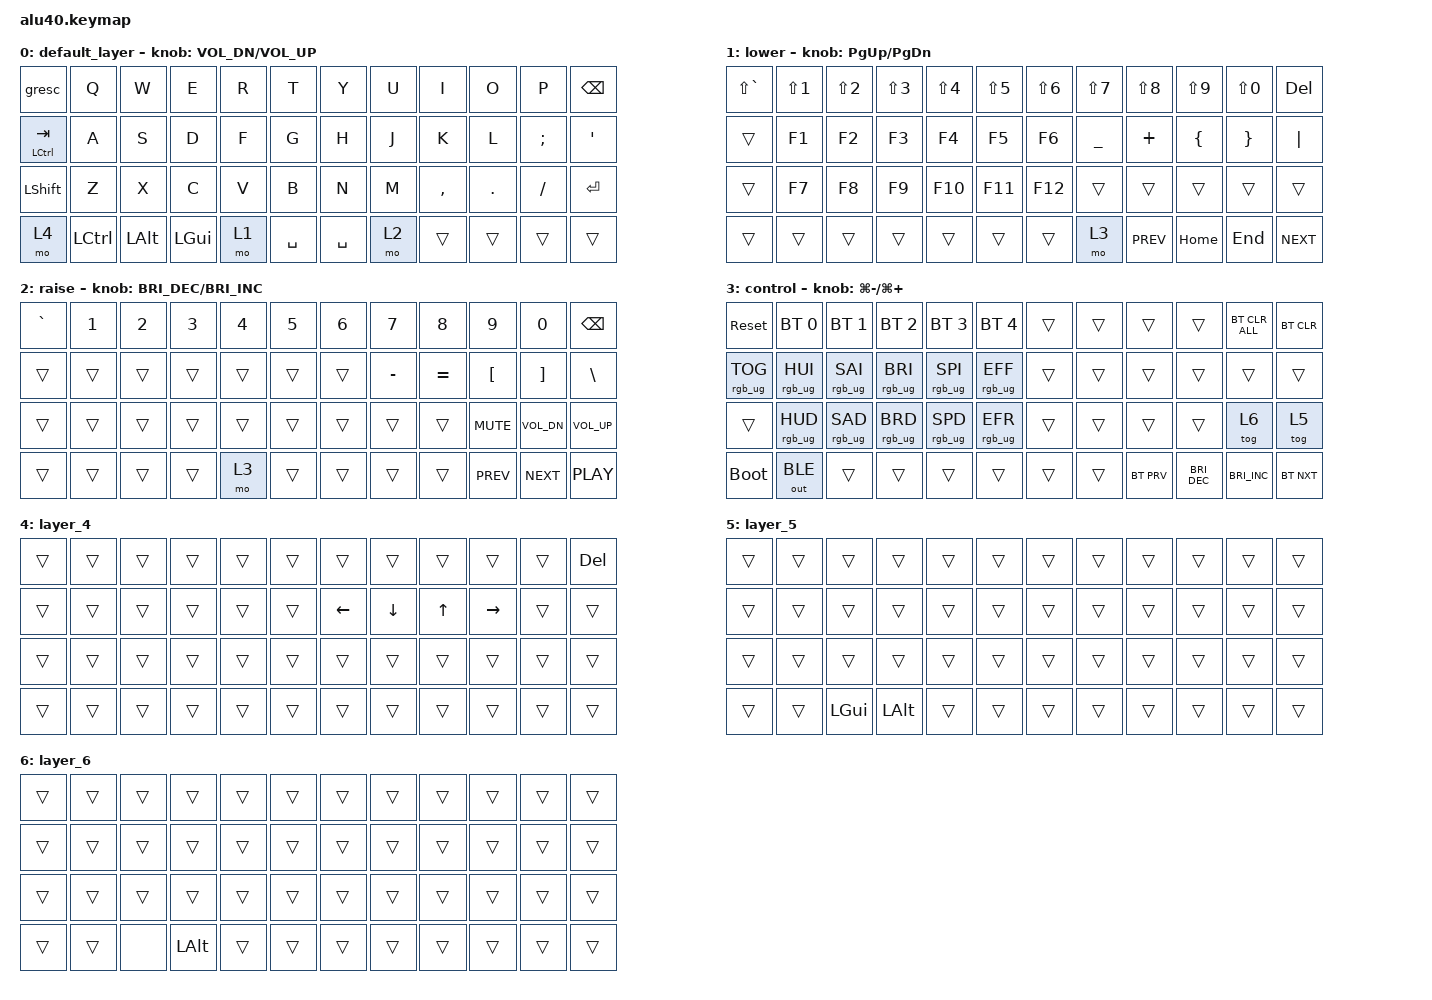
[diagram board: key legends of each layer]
/*
 * Copyright (c) 2022 The ZMK Contributors
 *
 * SPDX-License-Identifier: MIT
 */

#include <behaviors.dtsi>
#include <dt-bindings/zmk/bt.h>
#include <dt-bindings/zmk/keys.h>
#include <dt-bindings/zmk/outputs.h>
#include <dt-bindings/zmk/rgb.h>

/ {
    keymap {
        compatible = "zmk,keymap";

        default_layer {
            // -----------------------------------------------------------------------------------------
            // | ESC/~ |  Q   |  W   |  E   |  R   |  T   |   Y   |  U    |  I   |  O   |   P   | BSPC  |
            // | TAB   |  A   |  S   |  D   |  F   |  G   |   H   |  J    |  K   |  L   |   ;   |  '    |
            // | SHIFT |  Z   |  X   |  C   |  V   |  B   |   N   |  M    |  ,   |  .   |   /   |RET/SFT|
            // | PLAY  | LCTL | LALT | LGUI | LOWR |     SPACE    |  RAIS | LARW | UARW | DARW  |  RARW |

            bindings = <
&gresc         &kp Q      &kp W     &kp E     &kp R  &kp T      &kp Y      &kp U  &kp I      &kp O    &kp P     &kp BSPC
&mt LCTRL TAB  &kp A      &kp S     &kp D     &kp F  &kp G      &kp H      &kp J  &kp K      &kp L    &kp SEMI  &kp SQT
&kp LSHFT      &kp Z      &kp X     &kp C     &kp V  &kp B      &kp N      &kp M  &kp COMMA  &kp DOT  &kp FSLH  &kp ENTER
&mo 4          &kp LCTRL  &kp LALT  &kp LGUI  &mo 1  &kp SPACE  &kp SPACE  &mo 2  &trans     &trans   &trans    &trans
            >;

            sensor-bindings = <&inc_dec_kp C_VOL_DN C_VOL_UP>;
        };

        lower {
            bindings = <
&kp LS(GRAVE)  &kp LS(N1)  &kp LS(N2)  &kp LS(N3)  &kp LS(N4)  &kp LS(N5)  &kp LS(N6)  &kp LS(N7)  &kp LS(N8)  &kp LS(N9)  &kp LS(N0)  &kp DEL
&trans         &kp F1      &kp F2      &kp F3      &kp F4      &kp F5      &kp F6      &kp UNDER   &kp PLUS    &kp LBRC    &kp RBRC    &kp PIPE
&trans         &kp F7      &kp F8      &kp F9      &kp F10     &kp F11     &kp F12     &trans      &trans      &trans      &trans      &trans
&trans         &trans      &trans      &trans      &trans      &trans      &trans      &mo 3       &kp C_PREV  &kp HOME    &kp END     &kp C_NEXT
            >;

            sensor-bindings = <&inc_dec_kp PG_UP PG_DN>;
        };

        raise {
            bindings = <
&kp GRAVE  &kp N1  &kp N2  &kp N3  &kp N4  &kp N5  &kp N6  &kp N7     &kp N8     &kp N9      &kp N0        &kp BSPC
&trans     &trans  &trans  &trans  &trans  &trans  &trans  &kp MINUS  &kp EQUAL  &kp LBKT    &kp RBKT      &kp BSLH
&trans     &trans  &trans  &trans  &trans  &trans  &trans  &trans     &trans     &kp C_MUTE  &kp C_VOL_DN  &kp C_VOL_UP
&trans     &trans  &trans  &trans  &mo 3   &trans  &trans  &trans     &trans     &kp C_PREV  &kp C_NEXT    &kp C_PLAY
            >;

            sensor-bindings = <&inc_dec_kp C_BRI_DEC C_BRI_INC>;
        };

        control {
            bindings = <
&sys_reset       &bt BT_SEL 0     &bt BT_SEL 1     &bt BT_SEL 2     &bt BT_SEL 3     &bt BT_SEL 4     &trans  &trans  &trans      &trans                &bt BT_CLR_ALL        &bt BT_CLR
&rgb_ug RGB_TOG  &rgb_ug RGB_HUI  &rgb_ug RGB_SAI  &rgb_ug RGB_BRI  &rgb_ug RGB_SPI  &rgb_ug RGB_EFF  &trans  &trans  &trans      &trans                &trans                &trans
&trans           &rgb_ug RGB_HUD  &rgb_ug RGB_SAD  &rgb_ug RGB_BRD  &rgb_ug RGB_SPD  &rgb_ug RGB_EFR  &trans  &trans  &trans      &trans                &tog 6                &tog 5
&bootloader      &out OUT_BLE     &trans           &trans           &trans           &trans           &trans  &trans  &bt BT_PRV  &kp C_BRIGHTNESS_DEC  &kp C_BRIGHTNESS_INC  &bt BT_NXT
            >;

            sensor-bindings = <&inc_dec_kp LG(MINUS) LG(PLUS)>;
        };

        layer_4 {
            bindings = <
&trans  &trans  &trans  &trans  &trans  &trans  &trans    &trans    &trans  &trans     &trans  &kp DEL
&trans  &trans  &trans  &trans  &trans  &trans  &kp LEFT  &kp DOWN  &kp UP  &kp RIGHT  &trans  &trans
&trans  &trans  &trans  &trans  &trans  &trans  &trans    &trans    &trans  &trans     &trans  &trans
&trans  &trans  &trans  &trans  &trans  &trans  &trans    &trans    &trans  &trans     &trans  &trans
            >;
        };

        layer_5 {
            bindings = <
&trans  &trans  &trans    &trans    &trans  &trans  &trans  &trans  &trans  &trans  &trans  &trans
&trans  &trans  &trans    &trans    &trans  &trans  &trans  &trans  &trans  &trans  &trans  &trans
&trans  &trans  &trans    &trans    &trans  &trans  &trans  &trans  &trans  &trans  &trans  &trans
&trans  &trans  &kp LGUI  &kp LALT  &trans  &trans  &trans  &trans  &trans  &trans  &trans  &trans
            >;
        };

        layer_6 {
            bindings = <
&trans  &trans  &trans  &trans    &trans  &trans  &trans  &trans  &trans  &trans  &trans  &trans
&trans  &trans  &trans  &trans    &trans  &trans  &trans  &trans  &trans  &trans  &trans  &trans
&trans  &trans  &trans  &trans    &trans  &trans  &trans  &trans  &trans  &trans  &trans  &trans
&trans  &trans  &none   &kp LALT  &trans  &trans  &trans  &trans  &trans  &trans  &trans  &trans
            >;
        };
    };
};
